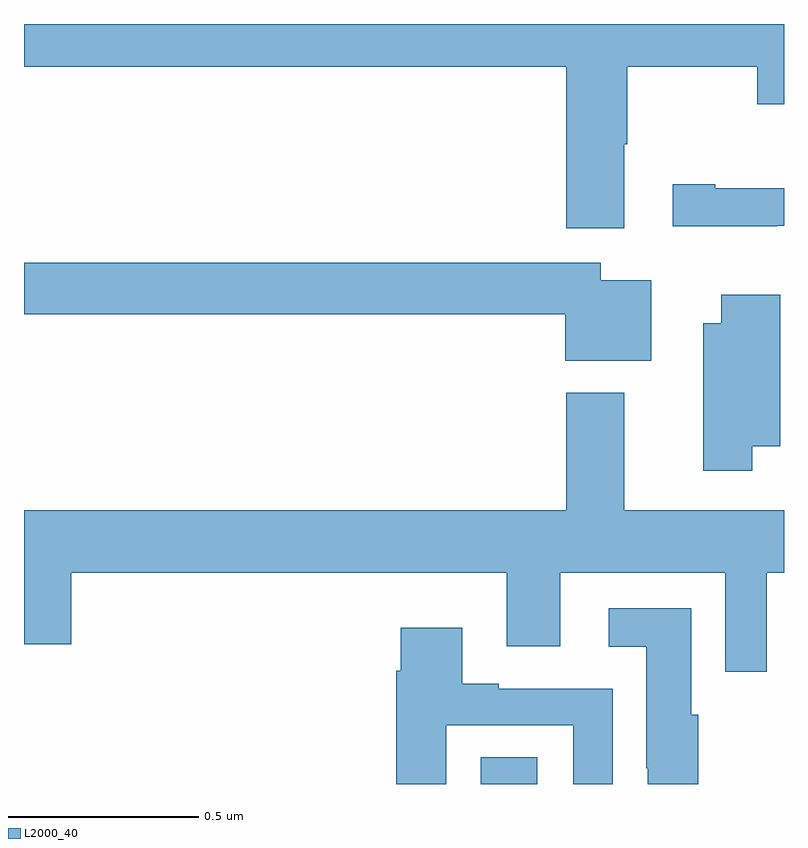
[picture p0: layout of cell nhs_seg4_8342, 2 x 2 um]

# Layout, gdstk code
import gdstk
lib = gdstk.Library(unit=1e-6, precision=1e-09)
def R(c, l, rs):  # rectangles x0, y0, x1, y1
    for r in rs: c.add(gdstk.rectangle(r[:2], r[2:], *l))
def P(c, l, *ps):  # polygons
    for p in ps: c.add(gdstk.Polygon(p, *l))
L2000_40 = (2000, 40)

nhs_seg4_8342 = lib.new_cell('nhs_seg4_8342')
R(nhs_seg4_8342, L2000_40, [(214.202,826.9,214.351,826.97)])
P(nhs_seg4_8342, L2000_40, [(214.579,828.584),(214.587,828.584),(214.587,828.788),(214.93,828.788),(214.93,828.689),(215,828.689),(215,828.9),(213,828.9),(213,828.788),(214.427,828.788),(214.427,828.363),(214.579,828.363)],
  [(214.982,828.369),(215,828.369),(215,828.468),(214.819,828.468),(214.819,828.478),(214.707,828.478),(214.707,828.368),(214.982,828.368)],
  [(214.651,828.226),(214.518,828.226),(214.518,828.272),(213,828.272),(213,828.136),(214.424,828.136),(214.424,828.014),(214.651,828.014)],
  [(214.917,827.789),(214.99,827.789),(214.99,828.187),(214.835,828.187),(214.835,828.112),(214.787,828.112),(214.787,827.724),(214.917,827.724)],
  [(214.954,827.456),(215,827.456),(215,827.62),(214.579,827.62),(214.579,827.929),(214.427,827.929),(214.427,827.62),(213,827.62),(213,827.268),(213.124,827.268),(213.124,827.456),(214.271,827.456),(214.271,827.262),(214.411,827.262),(214.411,827.456),(214.845,827.456),(214.845,827.196),(214.954,827.196)],
  [(214.774,827.082),(214.756,827.082),(214.756,827.362),(214.539,827.362),(214.539,827.261),(214.637,827.261),(214.637,826.942),(214.641,826.942),(214.641,826.9),(214.774,826.9)],
  [(214.111,827.055),(214.445,827.055),(214.445,826.9),(214.549,826.9),(214.549,827.151),(214.249,827.151),(214.249,827.164),(214.153,827.164),(214.153,827.311),(213.992,827.311),(213.992,827.198),(213.98,827.198),(213.98,826.9),(214.111,826.9)])

lib.write_gds('nhs_seg4_8342.gds')
